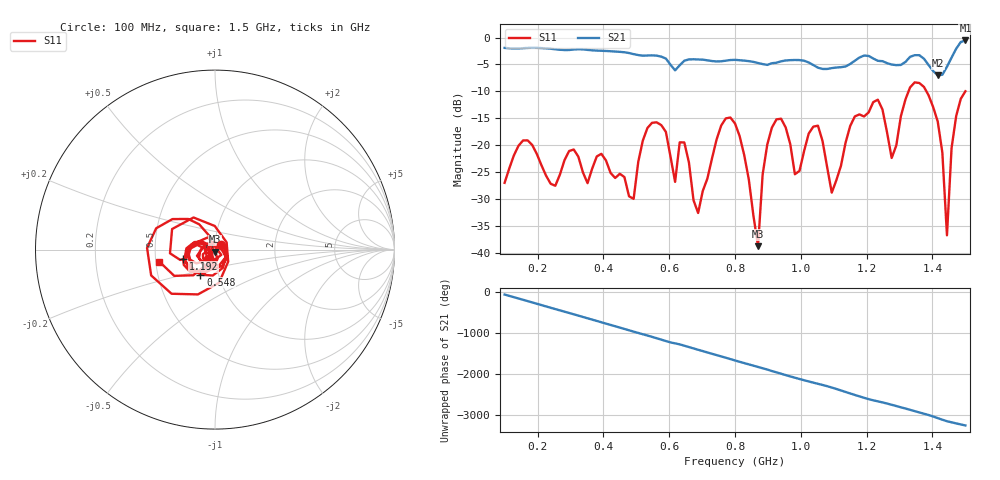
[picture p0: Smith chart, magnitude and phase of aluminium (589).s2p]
! NanoVNA-App
! Date: 2025-09-25 14:59:52
! Start: 100MHz Stop: 1,5GHz Points: 101
! S-Parameter data: F S11 S21 S12 S22
# Hz S RI R 50
!  Frequency  S11_Real  S11_Imag  S21_Real  S21_Imag  S12_Real  S12_Imag  S22_Real  S22_Imag
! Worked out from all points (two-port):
!   101 points, 100 MHz to 1.5 GHz, reference 50 ohm
!   highest |S21| = -0.54 dB at 1.5 GHz (marker M1); lowest = -7.0 dB at 1.416 GHz (marker M2)
!   |S21| within 3 dB of the highest: start of sweep to 575.9 MHz; 1.46 GHz to end of sweep (the widest 2 of 4)
!   lowest |S11| = -38.7 dB at 870 MHz (marker M3), VSWR 1.02, Z = 50.2 - j1.15 ohm
!   |S11| at or under -10 dB: start of sweep to 1.327 GHz; 1.382 GHz to 1.5 GHz (118 MHz wide, 8.19 % of centre)
!   S12 and S22 are empty: the file has one direction only
!   S11 on the Smith chart (normalised r, x): 100 MHz: 1.07, +0.06; 548 MHz: 0.82, -0.24; 1.192 GHz: 0.70, -0.08; 1.5 GHz: 0.52, -0.08
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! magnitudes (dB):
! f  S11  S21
! 100 MHz  -27.0  -1.9
! 156 MHz  -19.1  -2.0
! 338 MHz  -25.0  -2.2
! 492 MHz  -29.9  -3.1
! 548 MHz  -15.8  -3.3
! 576 MHz  -16.3  -3.5
! 618 MHz  -26.8  -6.1
! 646 MHz  -19.5  -4.3
! 688 MHz  -32.6  -4.1
! 800 MHz  -15.9  -4.1
! 870 MHz  -38.7  -4.7
! 912 MHz  -16.7  -4.8
! 982 MHz  -25.4  -4.2
! 1.038 GHz  -16.5  -5.1
! 1.094 GHz  -28.8  -5.7
! 1.192 GHz  -14.7  -3.3
! 1.276 GHz  -22.4  -5.0
! 1.346 GHz  -8.3  -3.3
! 1.416 GHz  -15.6  -7.0
! 1.444 GHz  -36.7  -5.4
! 1.458 GHz  -20.5  -3.7
! 1.5 GHz  -10.0  -0.5
